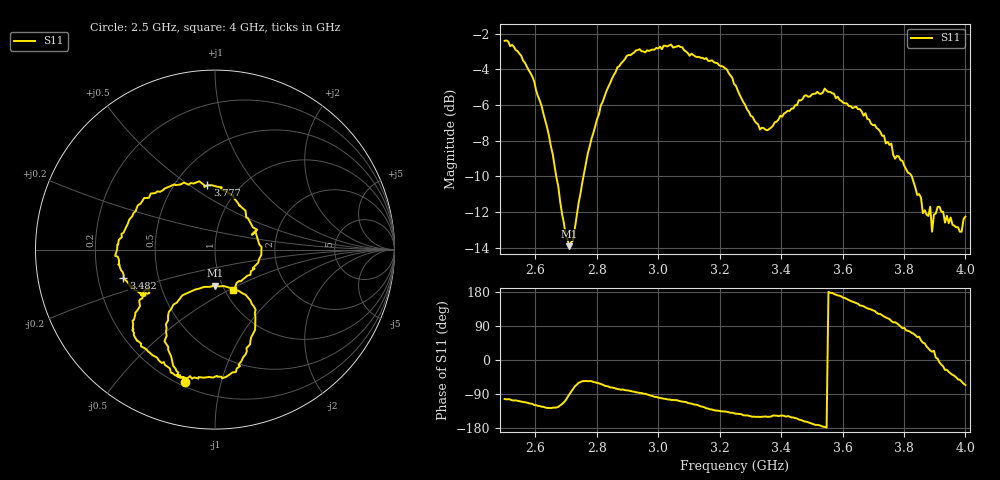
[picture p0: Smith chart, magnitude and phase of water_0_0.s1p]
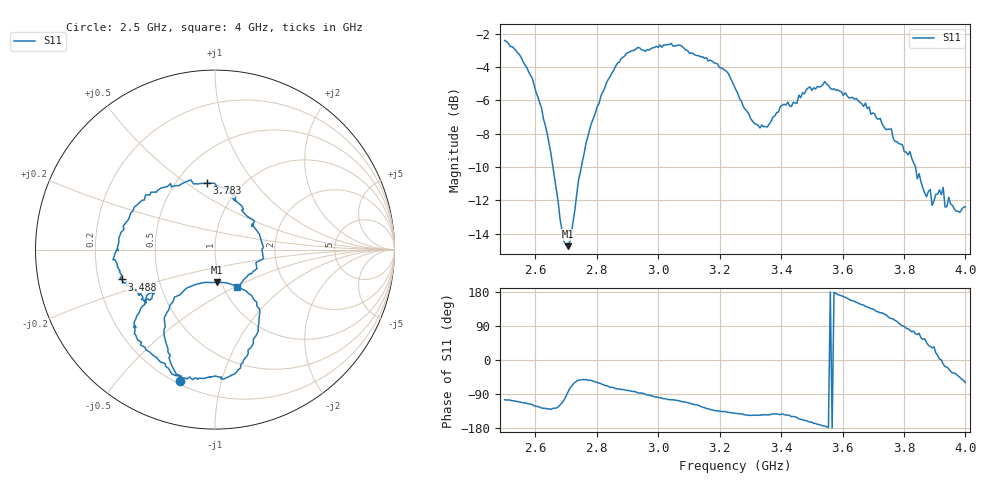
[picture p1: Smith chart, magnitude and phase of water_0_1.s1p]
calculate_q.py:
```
import nanovnacmd as nv
import numpy as np
import matplotlib.pyplot as plt

from typing import List

from NanoVNASaver.Calibration import Calibration
from NanoVNASaver.RFTools import Datapoint, reflection_coefficient
from NanoVNASaver.Touchstone import Options, Touchstone

import sys
sys.path.append("../pySmithPlot/")
from smithplot import SmithAxes

from scipy import optimize
from numpy import sqrt
from math import pi, sin, cos

water_ranges = {
    './data_water/water_0_0.s1p': (2.518072e9, 3.03012e9),
    './data_water/water_0_1.s1p': (2.524096e9, 3.03012e9),
    './data_water/water_1_0.s1p': (2.572289e9, 3.138554e9),
    './data_water/water_2_0.s1p': (2.596386e9, 3.150602e9),
    './data_water/water_2_1.s1p': (2.603225806e9, 3.158064516e9),
    './data_water/water_3_0.s1p': (2.719354839e9, 3.156627e9),
    './data_water/water_3_1.s1p': (2.609677419e9, 2.987096774e9),
    './data_water/water_4_0.s1p': (2.706451613e9, 3.156627e9),
    './data_water/water_4_1.s1p': (2.680645161e9, 3.151612903e9),
    './data_water/water_5_0.s1p': (2.761290323e9, 3.258064516e9),
    './data_water/water_5_1.s1p': (2.759036e9, 3.264516129e9),
    './data_water/water_6_0.s1p': (2.809677419e9, 3.329032258e9),
    './data_water/water_6_1.s1p': (2.835483871e9, 3.331325e9),
    './data_water/water_7_0.s1p': (2.861290323e9, 3.331325e9),
    './data_water/water_7_1.s1p': (2.883870968e9, 3.358064516e9),
}

def norm(x: float, y: float) -> List[float]:
	z = x + 1j*y
	result = (1 + z)/(1 - z)
	return result.real, result.imag

def plot_s11(ts: Touchstone, circle: (float, float, float), trim_start: List[Datapoint], trim_end: List[Datapoint]):
	f = np.array([d.freq for d in ts.s11data])
	s11 = np.array([d.z for d in ts.s11data])

	trim_data = trim_start+trim_end
	trim_f = np.array([d.freq for d in trim_data])
	trim_s11 = np.array([d.z for d in trim_data])

	plt.plot(f/1e9,20*np.log10(np.abs(s11)),label='S11')
	# plt.plot(f/1e9,20*np.log10(np.abs(s21)),label='S21')
	plt.xlabel('Frequency (GHz)')
	plt.ylabel('S parameter (dB)')
	plt.ylim(-80,5)
	# plt.show()

	# plt.plot(f/1e9,np.angle(s11),label='S11')
	# # plt.plot(f/1e9,np.angle(s21),label='S21')
	# plt.xlabel('Frequency (GHz)')
	# plt.ylabel('Phase (rad)')
	# plt.ylim(-np.pi,np.pi)
	# # plt.show()

	figure = plt.figure(figsize=(6, 6))

	xc_2, yc_2, R_2 = circle
	print(xc_2, yc_2)
	print(R_2)
	circle_points = []
	for i in range(0, 360):
		x = R_2 * cos(i * (pi / 180))
		y = R_2 * sin(i * (pi / 180))
		x += xc_2
		y += yc_2
		circle_points.append(x + y*1j)

	ax = plt.subplot(1, 1, 1, projection='smith')
	# plt.plot([10, 100], markevery=1)

	# print(s11)
	# print(trim_s11)
	# plt.plot(np.concatenate((s11, trim_s11)), label="default", datatype=SmithAxes.S_PARAMETER)

	plt.plot(s11, label="default", datatype=SmithAxes.S_PARAMETER)
	plt.plot(trim_s11, label="default", datatype=SmithAxes.S_PARAMETER)
	plt.plot(circle_points, color='red', markersize=1)
	# plt.plot(xc_2 + 1j*yc_2)

	plt.annotate(
		text = '',
		xy = norm(xc_2 - R_2, yc_2),
		xytext = norm(xc_2 + R_2, yc_2),
		arrowprops = dict(arrowstyle='<->')
	)
	plt.annotate(
		text = 'd',
		xy = norm(xc_2 - 0.02, yc_2 + 0.01)
	)

	# leg = plt.legend(loc="lower right", fontsize=12)
	# plt.title("Smith Chart")

	plt.show()

def closest_point(data: List[Datapoint], freq: int) -> Datapoint:
	closest = None
	closest_dist = None
	for point in data:
		if not closest_dist or abs(point.freq - freq) < closest_dist:
			closest = point
			closest_dist = abs(point.freq - freq)
	return closest

def calculate_resonance_frequency(ts: Touchstone) -> float:
	lowest_s11_freq = None
	lowest_s11 = None
	for p in ts.s11data:
		# print(p.freq, p.gain)
		if not lowest_s11 or abs(p.gain) > lowest_s11:
			lowest_s11_freq = p.freq
			lowest_s11 = abs(p.gain)
	return lowest_s11_freq

def calculate_half_power_bandwidth(ts: Touchstone, resonant_frequency: float, resonant_gain: float) -> float:
	# find half power value in decibels
	half_power = resonant_gain + 3
	print("half power:", half_power)

	# find intercepts at half power value
	first = True
	above = False
	intercepts = []
	for p in ts.s11data:
		value = 20*np.log10(np.abs(p.z))
		if first:
			first = False
			above = value > half_power
			continue
		if (above and value < half_power) or (not above and value > half_power):
			above = not above
			intercepts.append(p.freq)

	assert(len(intercepts) >= 2)
	print("resonant_frequency", resonant_frequency)
	print(intercepts)

	# find intercepts of half power
	first_intercept = None
	second_intercept = None
	for intercept in intercepts:
		if intercept > resonant_frequency:
			second_intercept = intercept
			break
		first_intercept = intercept
	print(first_intercept, second_intercept)
	half_power_bandwidth = second_intercept - first_intercept
	print(first_intercept, second_intercept, "half power bandwidth:", half_power_bandwidth)

	return half_power_bandwidth

def fit_circle(ts: Touchstone) -> (float, float, float):
	s11_re = np.array([d.re for d in ts.s11data])
	s11_im = np.array([d.im for d in ts.s11data])
	# print(s11_re)

	def calc_R(xc, yc):
		""" calculate the distance of each 2D points from the center (xc, yc) """
		return sqrt((s11_re-xc)**2 + (s11_im-yc)**2)

	def f_2(c):
		""" calculate the algebraic distance between the data points and the mean circle centered at c=(xc, yc) """
		Ri = calc_R(*c)
		return Ri - Ri.mean()

	center_estimate = 0, 0
	center_2, ier = optimize.leastsq(f_2, center_estimate)

	xc_2, yc_2 = center_2
	Ri_2       = calc_R(*center_2)
	R_2        = Ri_2.mean()
	residu_2   = sum((Ri_2 - R_2)**2)

	return (xc_2, yc_2, R_2)

filename = "./data_filings/can3_oil_aluminum_3_fine.s1p"
ts = Touchstone(filename)
ts.load()

resonance_band_from = 2.500 * 1e9
resonance_band_to = 3.0 * 1e9
if filename in water_ranges:
	resonance_band_from, resonance_band_to = water_ranges[filename]
print(resonance_band_from, resonance_band_to)

found_from = False
index_from = None
index_to = None
for i, p in enumerate(ts.s11data):
	if not found_from:
		if p.freq < resonance_band_from:
			continue
		index_from = i
		found_from = True
	else:
		if p.freq < resonance_band_to:
			continue
		index_to = i
		break
trim_start = ts.s11data[:index_from+1]
trim_end = ts.s11data[index_to:]
ts.s11data = ts.s11data[index_from:index_to+1]

circle = fit_circle(ts)
plot_s11(ts, circle, trim_start, trim_end)

resonant_frequency = calculate_resonance_frequency(ts)
print("resonant_frequency", resonant_frequency)

resonant_s11 = closest_point(ts.s11data, resonant_frequency)
resonant_gain = resonant_s11.gain
print("resonant gain:", resonant_gain)

half_power_bandwidth = calculate_half_power_bandwidth(ts, resonant_frequency, resonant_gain)

# Q_loaded = half power bandwidth
q_loaded = resonant_frequency / half_power_bandwidth
print("q_loaded:", q_loaded)

# resonance_band_from = 2.500 * 1e9
# resonance_band_to = 2.870 * 1e9
# https://media.proquest.com/media/hms/ORIG/1/7ZvgC?hl=&cit%3Aauth=Shahid%2C+S%3BBall%2C+J+A+R%3BWells%2C+C+G%3BWen%2C+P&cit%3Atitle=Reflection+type+Q-factor+measurement+using+standard+least+squares+methods&cit%3Apub=IEE+proceedings.+Microwaves%2C+antennas+and+propagation.&cit%3Avol=5&cit%3Aiss=4&cit%3Apg=426&cit%3Adate=Mar+2011&ic=true&cit%3Aprod=Advanced+Technologies+%26+Aerospace+Collection&_a=ChgyMDIxMDUxMDIwMjIwMjQzNjo2Nzk2MDESBjEwMDg2NRoKT05FX1NFQVJDSCIMMTguMTguMjM5LjE2KgcxOTM2MzYxMgoxNjM2NzAyNTA1Og1Eb2N1bWVudEltYWdlQgEwUgZPbmxpbmVaAkZUYgNQRlRqCjIwMTEvMDMvMDFyCjIwMTEvMDMvMzF6AIIBKVAtMTAwNzg1Mi0xMjQ5Mi1DVVNUT01FUi0xMDAwMDIzMy01MDQ4NjM5kgEGT25saW5lygFMTW96aWxsYS81LjAgKFgxMTsgVWJ1bnR1OyBMaW51eCB4ODZfNjQ7IHJ2Ojg3LjApIEdlY2tvLzIwMTAwMTAxIEZpcmVmb3gvODcuMNIBElNjaG9sYXJseSBKb3VybmFsc5oCB1ByZVBhaWSqAi5PUzpFTVMtRG9jVmlld1BkZlVybFNlcnZpY2UtZ2V0TWVkaWFVcmxGb3JJdGVtygIPQXJ0aWNsZXxGZWF0dXJl0gIBWeICAU7yAgD6AgFOggMDV2ViigMcQ0lEOjIwMjEwNTEwMjAyMjAyNDMyOjg1Mzg4Mg%3D%3D&_s=3xxU4Nz07bp9dqMrWeemRkVM%2FxI%3D
# now that we have q, find gamma L, the closest to origin
# gamma_L = None
# gamma_L_dist = None
# for p in ts.s11data:
# 	if p.freq < resonance_band_from or p.freq > resonance_band_to:
# 		continue
# 	gamma = p.z
# 	distance = abs(gamma)
# 	if not gamma_L_dist or distance < gamma_L_dist:
# 		# print(p, distance)
# 		gamma_L = gamma
# 		gamma_L_dist = distance
# print("gamma_L:", gamma_L)

# gamma_L_angle = np.angle(gamma_L, deg=False)
# print("gamma_L angle (radians):", gamma_L_angle)
# print("gamma_L angle (degrees):", np.rad2deg(gamma_L_angle))

diameter = 2*circle[2]
# diameter = 1 - abs(gamma_L)
print("diameter:", diameter)

kappa = diameter / (2 - diameter)
print("kappa:", kappa)

q_unloaded = q_loaded*(1 + kappa)
print("q_unloaded:", q_unloaded)
```
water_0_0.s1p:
# MHz S MA R 50
!  freq  S11
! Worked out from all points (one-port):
!   250 points, 2.5 GHz to 4 GHz, reference 50 ohm
!   lowest |S11| = -13.9 dB at 2.711 GHz (marker M1), VSWR 1.50, Z = 46 - j19.3 ohm
!   |S11| at or under -10 dB: 2.668 GHz to 2.757 GHz (88.8 MHz wide, 3.27 % of centre); 3.825 GHz to end of sweep
!   S11 on the Smith chart (normalised r, x): 2.5 GHz: 0.22, -0.77; 3.482 GHz: 0.31, -0.14; 3.777 GHz: 0.72, +0.59; 4 GHz: 1.09, -0.52
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2500  0.7583 -102.8
2620.482  0.4977 -123.3
2710.843  0.2013 -90.5
2813.253  0.4999 -63.5
2897.59  0.6877 -80.2
3000  0.7214 -99.3
3186.747  0.6576 -133.3
3331.325  0.4276 -150.4
3481.928  0.5336 -162.8
3500  0.5361 -167.7
3644.578  0.4956 150.2
3777.108  0.3607 96.8
3909.639  0.2593 3.4
4000  0.2436 -66.0
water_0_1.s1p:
# MHz S MA R 50
!  freq  S11
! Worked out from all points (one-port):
!   250 points, 2.5 GHz to 4 GHz, reference 50 ohm
!   lowest |S11| = -14.7 dB at 2.705 GHz (marker M1), VSWR 1.45, Z = 47.6 - j18 ohm
!   |S11| at or under -10 dB: 2.657 GHz to 2.75 GHz (92.27 MHz wide, 3.41 % of centre); 3.838 GHz to end of sweep
!   S11 on the Smith chart (normalised r, x): 2.5 GHz: 0.22, -0.75; 3.488 GHz: 0.30, -0.14; 3.783 GHz: 0.70, +0.60; 4 GHz: 1.16, -0.51
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2500  0.7586 -104.7
2620.482  0.4748 -126.6
2704.819  0.1832 -87.1
2813.253  0.516 -62.3
2897.59  0.6953 -80.2
3000  0.7229 -98.7
3186.747  0.6478 -134.0
3331.325  0.4145 -146.0
3487.952  0.5462 -162.3
3500  0.5373 -163.9
3608.434  0.5285 165.8
3783.133  0.372 97.0
3915.663  0.2703 2.4
4000  0.2404 -59.4
